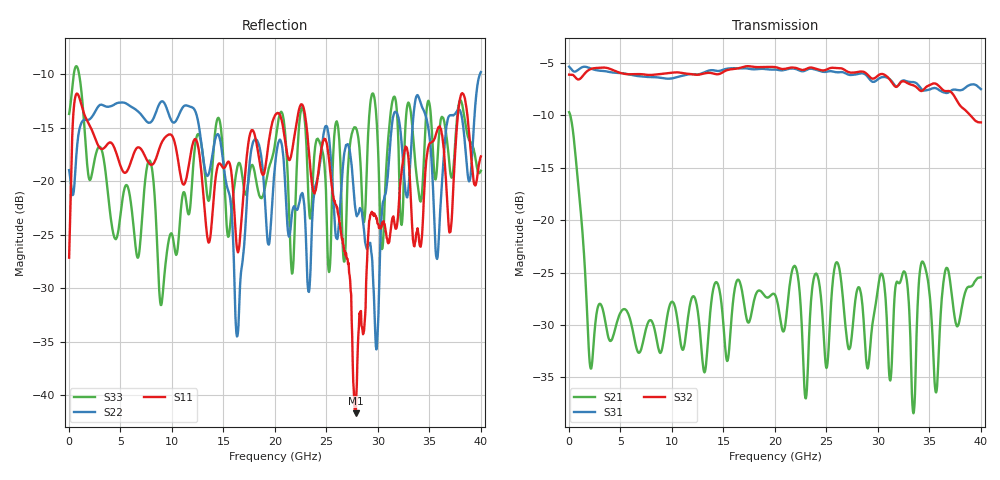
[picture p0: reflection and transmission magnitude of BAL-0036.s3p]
! MARKI MICROWAVE INC.
! Email:  info@markimicrowave.com  Phone:  408-778-4200
! Model Number:  BAL-0036  Date:  02/14
! Filename:		BAL-0036.S3P  Version: 1.0
! Description:  3-port S-parameter data for Balun BAL-0036
! Frequency Range: 	10 MHz to 36 GHz
! Port Configuration:	PORT 1: OUTPUT (0 DEGREE), PORT 2: OUTPUT (180 DEGREE), PORT 3: COMMON
! S3P File: Measurements: Mag<S11> Ang<S11> Mag<S12> Ang<S12> Mag<S13> Ang<S13>! row 1
!  Mag<S21> Ang<S21> Mag<S22> Ang<S22> Mag<S23> Ang<S23>! row 2
!  Mag<S31> Ang<S31> Mag<S32> Ang<S32> Mag<S33> Ang<S33>! row 3
# Hz S  dB  R 50
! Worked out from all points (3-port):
!   801 points, 10 MHz to 40 GHz, reference 50 ohm
!   strongest paths, dB at 10 MHz, 10.01 GHz, 20 GHz, 30 GHz, 40 GHz:
!     S32: -6.1, -5.9, -5.4, -6.2, -10.7
!     S31: -5.4, -6.5, -5.6, -6.6, -7.5
!     S21: -9.7, -27.8, -27.1, -26.5, -25.4
!   lowest |S11| = -41.7 dB at 27.85 GHz (marker M1), VSWR 1.02, Z = 50.4 - j0.707 ohm
!   |S11| at or under -10 dB: start of sweep to end of sweep
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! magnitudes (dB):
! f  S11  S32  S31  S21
! 10 MHz  -27.1  -6.1  -5.4  -9.7
! 2.109 GHz  -15.0  -5.6  -5.5  -34.2
! 8.958 GHz  -16.5  -6.0  -6.4  -32.6
! 14.51 GHz  -18.4  -6.1  -5.8  -26.2
! 16.31 GHz  -26.2  -5.5  -5.5  -25.8
! 20 GHz  -13.8  -5.4  -5.6  -27.1
! 24.95 GHz  -16.2  -5.7  -5.8  -33.9
! 27.85 GHz  -41.7  -5.9  -6.1  -27.3
! 32.65 GHz  -16.9  -6.8  -6.7  -25.0
! 40 GHz  -17.7  -10.7  -7.5  -25.4
